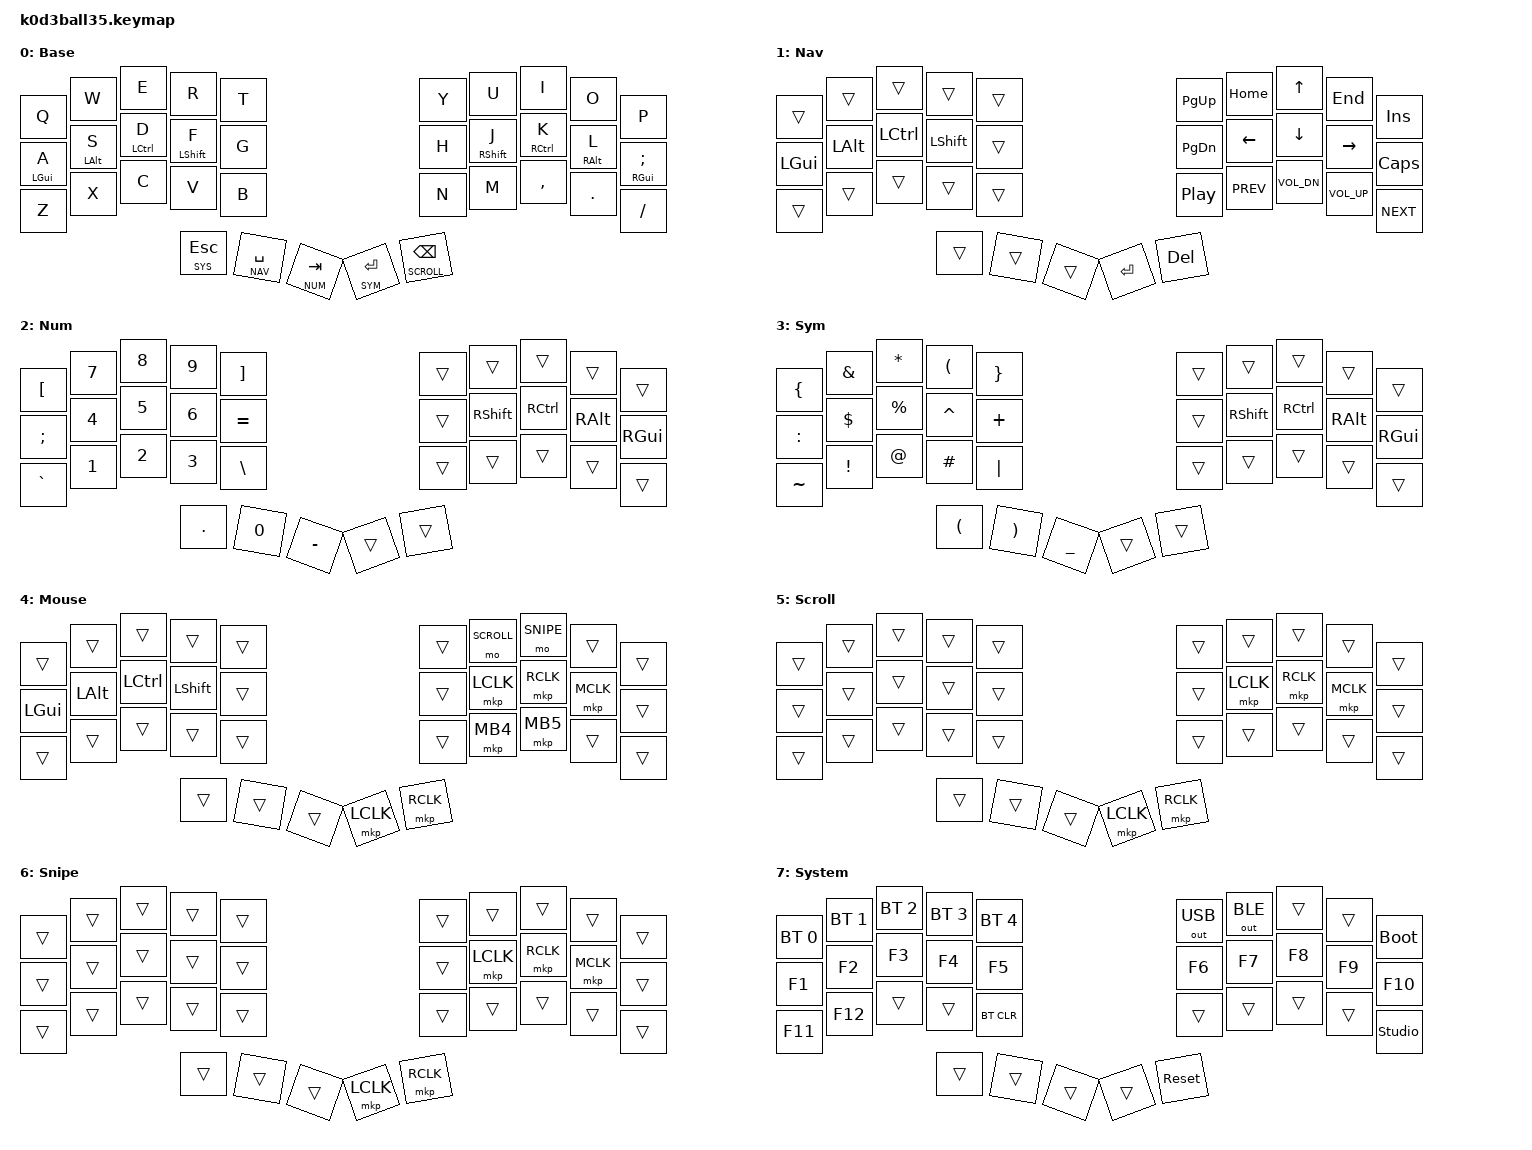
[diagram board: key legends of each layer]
/*
 * k0d3ball35 default keymap (35 keys: 15 + 3 thumbs left, 15 + 2 thumbs right).
 *
 * Layers: 0 BASE, 1 NAV, 2 NUM, 3 SYM, 4 MOUSE (auto), 5 SCROLL, 6 SNIPE, 7 SYS
 *
 * Key positions (matrix transform order, see k0d3ball35.dtsi):
 *   0  1  2  3  4      5  6  7  8  9
 *  10 11 12 13 14     15 16 17 18 19
 *  20 21 22 23 24     25 26 27 28 29
 *        30 31 32     33 34
 *
 * Thumbs: 30 left outer, 31 left middle, 32 left inner; 33 right inner (nearest
 * the other half), 34 right middle (next to the trackball). Since r2.3 the right
 * half has no OUTER thumb key - the ball pocket is there - so RET/SYM sits on the
 * right inner thumb and BSPC/SCROLL on the right middle one; DEL lives on NAV.
 */

#include <behaviors.dtsi>
#include <dt-bindings/zmk/bt.h>
#include <dt-bindings/zmk/keys.h>
#include <dt-bindings/zmk/outputs.h>
#include <dt-bindings/zmk/pointing.h>

#define BASE   0
#define NAV    1
#define NUM    2
#define SYM    3
#define MOUSE  4
#define SCROLL 5
#define SNIPE  6
#define SYS    7

#define KEYS_L 0 1 2 3 4 10 11 12 13 14 20 21 22 23 24
#define KEYS_R 5 6 7 8 9 15 16 17 18 19 25 26 27 28 29
#define THUMBS 30 31 32 33 34

&lt {
    flavor = "balanced";
    tapping-term-ms = <200>;
    quick-tap-ms = <150>;
};

&mt {
    flavor = "tap-preferred";
    tapping-term-ms = <200>;
};

/ {
    behaviors {
        // Home-row mods: left hand mods only trigger with right-hand keys and vice versa.
        hml: home_row_mod_left {
            compatible = "zmk,behavior-hold-tap";
            #binding-cells = <2>;
            flavor = "balanced";
            tapping-term-ms = <280>;
            quick-tap-ms = <175>;
            require-prior-idle-ms = <150>;
            bindings = <&kp>, <&kp>;
            hold-trigger-key-positions = <KEYS_R THUMBS>;
            hold-trigger-on-release;
        };

        hmr: home_row_mod_right {
            compatible = "zmk,behavior-hold-tap";
            #binding-cells = <2>;
            flavor = "balanced";
            tapping-term-ms = <280>;
            quick-tap-ms = <175>;
            require-prior-idle-ms = <150>;
            bindings = <&kp>, <&kp>;
            hold-trigger-key-positions = <KEYS_L THUMBS>;
            hold-trigger-on-release;
        };
    };

    combos {
        compatible = "zmk,combos";

        combo_esc {
            timeout-ms = <40>;
            key-positions = <1 2>;
            bindings = <&kp ESC>;
            layers = <BASE>;
        };

        combo_tab {
            timeout-ms = <40>;
            key-positions = <2 3>;
            bindings = <&kp TAB>;
            layers = <BASE>;
        };

        combo_caps_word {
            timeout-ms = <40>;
            key-positions = <13 16>;
            bindings = <&caps_word>;
            layers = <BASE>;
        };

        combo_sys {
            timeout-ms = <50>;
            key-positions = <30 34>;
            bindings = <&mo SYS>;
        };
    };

    keymap {
        compatible = "zmk,keymap";

        base_layer {
            display-name = "Base";
            bindings = <
&kp Q         &kp W         &kp E          &kp R          &kp T            &kp Y     &kp U          &kp I          &kp O         &kp P
&hml LGUI A   &hml LALT S   &hml LCTRL D   &hml LSHFT F   &kp G            &kp H     &hmr RSHFT J   &hmr RCTRL K   &hmr RALT L   &hmr RGUI SEMI
&kp Z         &kp X         &kp C          &kp V          &kp B            &kp N     &kp M          &kp COMMA      &kp DOT       &kp FSLH
                            &lt SYS ESC    &lt NAV SPACE  &lt NUM TAB      &lt SYM RET  &lt SCROLL BSPC
            >;
        };

        nav_layer {
            display-name = "Nav";
            bindings = <
&trans     &trans     &trans     &trans     &trans          &kp PG_UP    &kp HOME   &kp UP     &kp END    &kp INS
&kp LGUI   &kp LALT   &kp LCTRL  &kp LSHFT  &trans          &kp PG_DN    &kp LEFT   &kp DOWN   &kp RIGHT  &kp CAPS
&trans     &trans     &trans     &trans     &trans          &kp C_PP     &kp C_PREV &kp C_VOL_DN &kp C_VOL_UP &kp C_NEXT
                      &trans     &trans     &trans          &kp RET      &kp DEL
            >;
        };

        num_layer {
            display-name = "Num";
            bindings = <
&kp LBKT   &kp N7     &kp N8     &kp N9     &kp RBKT        &trans     &trans     &trans     &trans     &trans
&kp SEMI   &kp N4     &kp N5     &kp N6     &kp EQUAL       &trans     &kp RSHFT  &kp RCTRL  &kp RALT   &kp RGUI
&kp GRAVE  &kp N1     &kp N2     &kp N3     &kp BSLH        &trans     &trans     &trans     &trans     &trans
                      &kp DOT    &kp N0     &kp MINUS       &trans     &trans
            >;
        };

        sym_layer {
            display-name = "Sym";
            bindings = <
&kp LBRC   &kp AMPS   &kp STAR   &kp LPAR   &kp RBRC        &trans     &trans     &trans     &trans     &trans
&kp COLON  &kp DLLR   &kp PRCNT  &kp CARET  &kp PLUS        &trans     &kp RSHFT  &kp RCTRL  &kp RALT   &kp RGUI
&kp TILDE  &kp EXCL   &kp AT     &kp HASH   &kp PIPE        &trans     &trans     &trans     &trans     &trans
                      &kp LPAR   &kp RPAR   &kp UNDER       &trans     &trans
            >;
        };

        mouse_layer {
            display-name = "Mouse";
            bindings = <
&trans     &trans     &trans     &trans     &trans          &trans     &mo SCROLL &mo SNIPE  &trans     &trans
&kp LGUI   &kp LALT   &kp LCTRL  &kp LSHFT  &trans          &trans     &mkp LCLK  &mkp RCLK  &mkp MCLK  &trans
&trans     &trans     &trans     &trans     &trans          &trans     &mkp MB4   &mkp MB5   &trans     &trans
                      &trans     &trans     &trans          &mkp LCLK  &mkp RCLK
            >;
        };

        scroll_layer {
            display-name = "Scroll";
            bindings = <
&trans     &trans     &trans     &trans     &trans          &trans     &trans     &trans     &trans     &trans
&trans     &trans     &trans     &trans     &trans          &trans     &mkp LCLK  &mkp RCLK  &mkp MCLK  &trans
&trans     &trans     &trans     &trans     &trans          &trans     &trans     &trans     &trans     &trans
                      &trans     &trans     &trans          &mkp LCLK  &mkp RCLK
            >;
        };

        snipe_layer {
            display-name = "Snipe";
            bindings = <
&trans     &trans     &trans     &trans     &trans          &trans     &trans     &trans     &trans     &trans
&trans     &trans     &trans     &trans     &trans          &trans     &mkp LCLK  &mkp RCLK  &mkp MCLK  &trans
&trans     &trans     &trans     &trans     &trans          &trans     &trans     &trans     &trans     &trans
                      &trans     &trans     &trans          &mkp LCLK  &mkp RCLK
            >;
        };

        sys_layer {
            display-name = "System";
            bindings = <
&bt BT_SEL 0 &bt BT_SEL 1 &bt BT_SEL 2 &bt BT_SEL 3 &bt BT_SEL 4    &out OUT_USB &out OUT_BLE &trans    &trans    &bootloader
&kp F1       &kp F2       &kp F3       &kp F4       &kp F5          &kp F6       &kp F7       &kp F8    &kp F9    &kp F10
&kp F11      &kp F12      &trans       &trans       &bt BT_CLR      &trans       &trans       &trans    &trans    &studio_unlock
                          &trans       &trans       &trans          &trans       &sys_reset
            >;
        };
    };
};
